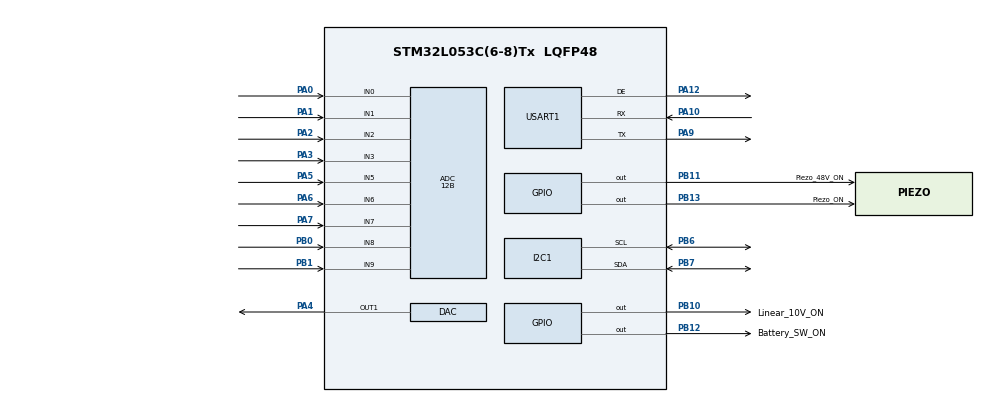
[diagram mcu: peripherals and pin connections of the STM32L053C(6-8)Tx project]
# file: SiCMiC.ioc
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ADC.ClockPrescaler=ADC_CLOCK_SYNC_PCLK_DIV1
ADC.ContinuousConvMode=ENABLE
ADC.DMAContinuousRequests=DISABLE
ADC.DataAlign=ADC_DATAALIGN_RIGHT
ADC.DiscontinuousConvMode=DISABLE
ADC.EOCSelection=ADC_EOC_SINGLE_CONV
ADC.EnableAnalogWatchDog=false
ADC.ExternalTrigConv=ADC_SOFTWARE_START
ADC.ExternalTrigConvEdge=ADC_EXTERNALTRIGCONVEDGE_NONE
ADC.LowPowerAutoPowerOff=ENABLE
ADC.LowPowerAutoWait=ENABLE
ADC.LowPowerFrequencyMode=ENABLE
ADC.Overrun=ADC_OVR_DATA_PRESERVED
ADC.OversamplingMode=DISABLE
ADC.Resolution=ADC_RESOLUTION_12B
ADC.SamplingTime=ADC_SAMPLETIME_1CYCLE_5
ADC.ScanConvMode=ADC_SCAN_DIRECTION_FORWARD
I2C1.OwnAddress=45
I2C1.Timing=0x00000E14
Mcu.Family=STM32L0
Mcu.Name=STM32L053C(6-8)Tx
Mcu.Package=LQFP48
PA0.Mode=IN0
PA0.Signal=ADC_IN0
PA1.Mode=IN1
PA1.Signal=ADC_IN1
PA10.Mode=Asynchronous
PA10.Signal=USART1_RX
PA12.Mode=Hardware Flow Control (RS485)
PA12.Signal=USART1_DE
PA13.GPIO_Label=SWDIO
PA13.Mode=Serial_Wire
PA13.Signal=SYS_SWDIO
PA14.Mode=Serial_Wire
PA14.Signal=SYS_SWCLK
PA2.Mode=IN2
PA2.Signal=ADC_IN2
PA3.Mode=IN3
PA3.Signal=ADC_IN3
PA4.Signal=COMP_DAC1_group
PA5.Mode=IN5
PA5.Signal=ADC_IN5
PA6.Mode=IN6
PA6.Signal=ADC_IN6
PA7.Mode=IN7
PA7.Signal=ADC_IN7
PA9.Mode=Asynchronous
PA9.Signal=USART1_TX
PB0.Mode=IN8
PB0.Signal=ADC_IN8
PB1.Mode=IN9
PB1.Signal=ADC_IN9
PB10.GPIO_Label=Linear_10V_ON
PB10.Signal=GPIO_Output
PB11.GPIO_Label=Piezo_48V_ON
PB11.Signal=GPIO_Output
PB12.GPIO_Label=Battery_SW_ON
PB12.Signal=GPIO_Output
PB13.GPIO_Label=Piezo_ON
PB13.GPIO_ModeDefaultOutputPP=GPIO_MODE_OUTPUT_OD
PB13.Signal=GPIO_Output
PB6.Mode=I2C
PB6.Signal=I2C1_SCL
PB7.Mode=I2C
PB7.Signal=I2C1_SDA
ProjectManager.HeapSize=0x200
ProjectManager.StackSize=0x400
ProjectManager.TargetToolchain=EWARM
RCC.ADCFreq_Value=4000000
RCC.AHBFreq_Value=2097000
RCC.APB1Freq_Value=2097000
RCC.APB1TimFreq_Value=2097000
RCC.APB2Freq_Value=2097000
RCC.APB2TimFreq_Value=2097000
RCC.DATA_CACHE_ENABLE=1
RCC.HCLKFreq_Value=2097000
RCC.HSE_VALUE=8000000
RCC.HSI16_VALUE=16000000
RCC.HSI48MClockSelection=RCC_USBCLKSOURCE_HSI48
RCC.HSI48_VALUE=48000000
RCC.HSIRCDiv=4
RCC.HSI_VALUE=4000000
RCC.I2c1ClockSelection=RCC_I2C1CLKSOURCE_HSI
RCC.LSE_VALUE=32768
RCC.MSI_VALUE=2097000
RCC.PLLDIV=RCC_PLLDIV_3
RCC.RTCClockSelectionVirtual=RCC_RTCCLKSOURCE_LSE
RCC.SYSCLKFreq_VALUE=2097000
RCC.VCOOutputFreq_Value=12000000
RCC.VDD_VALUE=3.3
SH.COMP_DAC1_group.0=DAC_OUT1,DAC_OUT1
USART1.VirtualMode-Asynchronous=VM_ASYNC
USART1.VirtualMode-Hardware\ Flow\ Control\ (RS485)=VM_ASYNC
USART1.WordLength=WORDLENGTH_8B
VP_ADC_Vref_Input.Mode=IN-Vrefint
VP_IWDG_VS_IWDG.Mode=IWDG_Activate
board=STM32L0538DISCOVERY

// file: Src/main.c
/**
******************************************************************************
* @file           : main.c
* @brief          : Main program body
******************************************************************************
** This notice applies to any and all portions of this file
* that are not between comment pairs USER CODE BEGIN and
* USER CODE END. Other portions of this file, whether
* inserted by the user or by software development tools
* are owned by their respective copyright owners.
*
* COPYRIGHT(c) 2018 STMicroelectronics
*
* Redistribution and use in source and binary forms, with or without modification,
* are permitted provided that the following conditions are met:
*   1. Redistributions of source code must retain the above copyright notice,
*      this list of conditions and the following disclaimer.
*   2. Redistributions in binary form must reproduce the above copyright notice,
*      this list of conditions and the following disclaimer in the documentation
*      and/or other materials provided with the distribution.
*   3. Neither the name of STMicroelectronics nor the names of its contributors
*      may be used to endorse or promote products derived from this software
*      without specific prior written permission.
*
* THIS SOFTWARE IS PROVIDED BY THE COPYRIGHT HOLDERS AND CONTRIBUTORS "AS IS"
* AND ANY EXPRESS OR IMPLIED WARRANTIES, INCLUDING, BUT NOT LIMITED TO, THE
* IMPLIED WARRANTIES OF MERCHANTABILITY AND FITNESS FOR A PARTICULAR PURPOSE ARE
* DISCLAIMED. IN NO EVENT SHALL THE COPYRIGHT HOLDER OR CONTRIBUTORS BE LIABLE
* FOR ANY DIRECT, INDIRECT, INCIDENTAL, SPECIAL, EXEMPLARY, OR CONSEQUENTIAL
* DAMAGES (INCLUDING, BUT NOT LIMITED TO, PROCUREMENT OF SUBSTITUTE GOODS OR
* SERVICES; LOSS OF USE, DATA, OR PROFITS; OR BUSINESS INTERRUPTION) HOWEVER
* CAUSED AND ON ANY THEORY OF LIABILITY, WHETHER IN CONTRACT, STRICT LIABILITY,
* OR TORT (INCLUDING NEGLIGENCE OR OTHERWISE) ARISING IN ANY WAY OUT OF THE USE
* OF THIS SOFTWARE, EVEN IF ADVISED OF THE POSSIBILITY OF SUCH DAMAGE.
*
******************************************************************************
*/
#include "header.h"

/* USER CODE BEGIN PV */
/* Private variables ---------------------------------------------------------*/
char bufftx[20]="X?\r";
//char txD[8]="Hussei\n\r";
//uint8_t rxD[10];
char buffrx[40];
/* USER CODE END PV */

void SystemClock_Config(void);

/* USER CODE BEGIN PFP */
/* Private function prototypes -----------------------------------------------*/
#define EXPERIMENTSIZE sizeof(experiments)
/* Size of Transmission buffer */
#define TXBUFFERSIZE                      20
/* Size of Reception buffer */
#define RXBUFFERSIZE                      TXBUFFERSIZE
static void Flush_Buffer(uint8_t* pBuffer, uint16_t BufferLength);
uint8_t aRxBuffer[10];
uint8_t aTxBuffer[20];
/* USER CODE END PFP */

int main(void)
{

  /* MCU Configuration----------------------------------------------------------*/

  /* Reset of all peripherals, Initializes the Flash interface and the Systick. */
  HAL_Init();

  /* Configure the system clock */
  SystemClock_Config();

  /* Initialize all configured peripherals */
  MX_GPIO_Init();
  MX_ADC_Init();
  MX_DAC_Init();
  MX_I2C1_Init();
  MX_USART1_UART_Init();
  MX_IWDG_Init();

  /* Infinite loop */
  /* USER CODE BEGIN WHILE */
  while (1){
    Flush_Buffer((uint8_t *)aRxBuffer,RXBUFFERSIZE);	  //Flush the buffer so the OBC can send message
    receive_OBC_message();				  //Checks if something 											//Receive instructions from the OBC
    check_OBC_message();				  // Checks which task shall be done												//Check instructions from the OBC

  }

}

/* USER CODE END WHILE */

/* USER CODE BEGIN 3 */
/**
@brief receive OBC Message, waits for the transmitted message from OBC. Checks if
the aRxBuffer is empty. If it is empty it lopps in this function until a command
is received.

@param char string, Checks if the received aRxbuffer are empty or not.

@returns,
*/
void receive_OBC_message(){

  /*##-2- Put I2C peripheral in reception process ###########################*/
  while(HAL_I2C_Slave_Receive(&hi2c1, (uint8_t *)aRxBuffer, RXBUFFERSIZE,100) != HAL_OK)
  {

    /*If some instructions has been send then return to main*/
    if(aRxBuffer[0] != '\0')
      return;
  }

  while (HAL_I2C_GetState(&hi2c1) != HAL_I2C_STATE_READY)
  {
  }
  return;
}
/**
@brief Check OBC Message, Checks the received message from OBC to see which command
should be made.

@param char string, compares the Char string from aRxbuffer with the typed in
to see if they are the same.

@returns,
*/
void check_OBC_message(void){

  if(strcmp(aRxBuffer, "start_test") == 0)
  {
    start_test(); //starts the test and activates the voltage planes

    return;
  }
  if(strcmp(aRxBuffer, "piezo48V") == 0)
  {
    HAL_GPIO_WritePin(GPIOB,Piezo_48V_ON_Pin,GPIO_PIN_RESET); //turns off 48V to piezo
    return;
  }

  if(strcmp(aRxBuffer, "piezoON") == 0)
  {

    HAL_GPIO_WritePin(GPIOB,Piezo_ON_Pin,GPIO_PIN_RESET); //turns off 5V to piezo

    return;
  }
  if(strcmp(aRxBuffer, "linear10V") == 0)
  {

    HAL_GPIO_WritePin(GPIOB,Linear_10V_ON_Pin,GPIO_PIN_RESET);//turns off 10V to BJT circuits

    return;
  }
  if(strcmp(aRxBuffer, "BatteryON") == 0)
  {

    HAL_GPIO_WritePin(GPIOB,Battery_SW_ON_Pin,GPIO_PIN_RESET);//turns off CubeSat battery 12.8-15V

    return;
  }
  if(strcmp(aRxBuffer, "RS485") == 0)
  {
    /*%%%%%%%%%%%%%%%%%%%%%%%%%%%%%%%%%%%%%%%%%%%%%%%%%%%%%%
    This code works for communication with Pizo legs.
    But the ASCII commands that Piezo LEGS needs are not implemented
    here. A list can be made where all the commands are available
    and implemented in the same way as of SiC.
   //%%%%%%%%%%%%%%%%%%%%%%%%%%%%%%%%%%%%%%%%%%%%%%%%%%%%%%*/
    HAL_RS485Ex_Init(&huart1, UART_DE_POLARITY_HIGH, 10, 10);
    HAL_UART_Transmit(&huart1, (uint8_t *)bufftx ,strlen(bufftx),1000);
    HAL_UART_Receive(&huart1, (uint8_t *)buffrx, 40,1000);

    return;
  }
  else return;
}
/**
@brief Flush buffer, flushes the buffer after every received data from OBC.

@param uint8_t , The received messeage from OBC aRxbuffer

@returns, Empty aRxBuffer array
*/
static void Flush_Buffer(uint8_t* pBuffer, uint16_t BufferLength)
{
  while (BufferLength--)
  {
    *pBuffer = 0;

    pBuffer++;
  }
}
/* USER CODE END 3 */

/* USER CODE BEGIN 4 */
/* void HAL_UART_TxCpltCallback(UART_HandleTypeDef *huart){
/* Prevent unused argument(s) compilation warning */
//  UNUSED(huart);

/* NOTE : This function Should not be modified, when the callback is needed,
the HAL_UART_TxCpltCallback could be implemented in the user file
*/
// }
/* USER CODE END 4 */

void _Error_Handler(char *file, int line)
{
  while(1)
  {
  }
}

/************************ (C) COPYRIGHT STMicroelectronics *****END OF FILE****/
